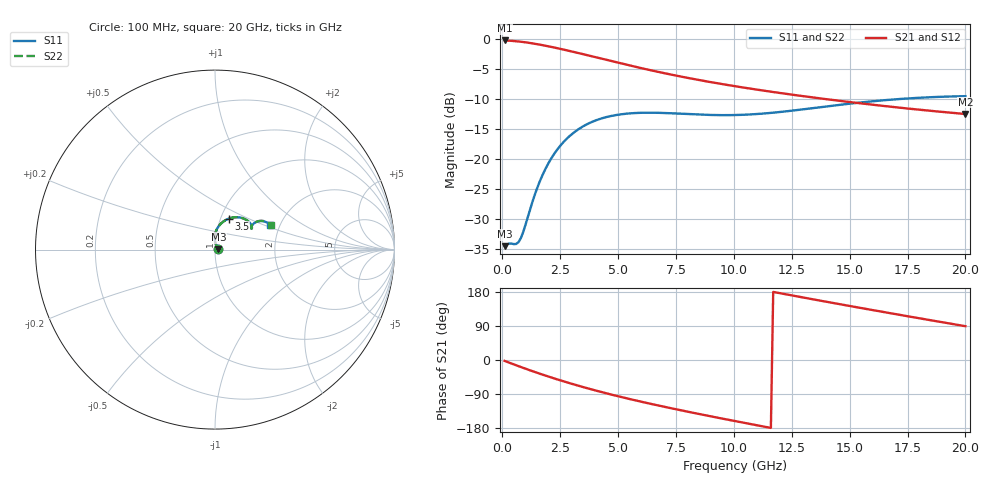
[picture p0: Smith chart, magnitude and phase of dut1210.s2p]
! Touchstone file exported from HFSS 2024.1.0
!  File:  C:/UserFiles/LocalFiles/RDL_TSV_Batchsim/temp_RDL_TSV_1210_1780259139.aedt
!  Generated:  04:43:52 AM Jun  1, 2026
!  Design:  RDL_TSV
!  Project:  temp_RDL_TSV_1210_1780259139
!  Setup:  Setup1
!  Solution:  Sweep
! Variables:
!  dtsv = 10.39um
!  hbump = 3um
!  htsv = 90.83um
!  ldown = 517.81um
!  lrdl = 578.98um
!  p = 40
!  p1 = 51.75um
!  rhole = 10um
!  subl = 3869.35um
!  t = 450um
!  tdown = 3.99um
!  trdl = 3.7um
!  viad = 10um
!  wdown = 14.84um
!  wrdl = 25.29um
!  xbump = 18um
# GHz S MA R 50.000000
! Terminal data exported
! Port[1] = TM1_1_T1
! Port[2] = TM1_4_T1
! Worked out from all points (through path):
!   200 points, 100 MHz to 20 GHz, reference 50 ohm
!   highest |S21| = -0.17 dB at 100 MHz (marker M1); lowest = -12.4 dB at 20 GHz (marker M2)
!   group delay of S21, straight-line fit = 35.5 ps
!   lowest |S11| = -34.5 dB at 100 MHz (marker M3), VSWR 1.04, Z = 51.9 + j0.276 ohm
!   |S11| at or under -10 dB: start of sweep to 16.95 GHz
!   |S22| runs from -34.5 to -9.4 dB; largest |S21 - S12| = 1.4e-14
!   S11 on the Smith chart (normalised r, x): 100 MHz: 1.04, +0.01; 3.5 GHz: 1.09, +0.39; 20 GHz: 1.79, +0.54
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0.1  0.01885 8.1  0.9808 -2.4  0.9808 -2.4  0.01885 8.1
! Gamma 0 0 0 0
! Port Impedance 50 0 50 0
0.3  0.01982 19.8  0.9765 -7.1  0.9765 -7.1  0.01983 19.8
0.6  0.01967 41.5  0.9663 -14.0  0.9663 -14.0  0.01967 41.4
0.8  0.02197 61.5  0.9573 -18.5  0.9573 -18.5  0.02196 61.5
1.4  0.05041 90.9  0.9209 -31.6  0.9209 -31.6  0.05037 90.9
1.8  0.07846 90.7  0.8914 -39.8  0.8914 -39.8  0.07841 90.7
2.2  0.108 86.1  0.8597 -47.8  0.8597 -47.8  0.1079 86.1
2.6  0.1363 80.1  0.8269 -55.5  0.8269 -55.5  0.1362 80.1
3  0.1619 73.7  0.7938 -62.8  0.7938 -62.8  0.1618 73.8
3.5  0.1889 66.1  0.7527 -71.6  0.7527 -71.6  0.1887 66.1
4.3  0.2197 55.2  0.6901 -84.8  0.6901 -84.8  0.2195 55.2
5.1  0.237 46.3  0.6329 -97.1  0.6329 -97.1  0.2367 46.3
5.9  0.244 39.5  0.5822 -108.7  0.5822 -108.7  0.2437 39.5
6.8  0.2441 34.1  0.5328 -120.9  0.5328 -120.9  0.2438 34.2
8.3  0.2371 30.0  0.4662 -140.0  0.4662 -140.0  0.2368 30.1
10.1  0.2342 30.7  0.4058 -161.8  0.4058 -161.8  0.2342 30.9
11.6  0.2439 32.9  0.3665 -179.2  0.3665 -179.2  0.2442 33.1
13.4  0.2671 34.0  0.3284 160.3  0.3284 160.3  0.2678 34.2
15  0.2912 32.9  0.3004 142.6  0.3004 142.6  0.2921 33.0
16.7  0.3135 30.2  0.2755 124.1  0.2755 124.1  0.3147 30.3
18.3  0.3284 27.0  0.256 107.0  0.256 107.0  0.3296 27.1
20  0.3364 23.5  0.2388 89.2  0.2388 89.2  0.3378 23.6
